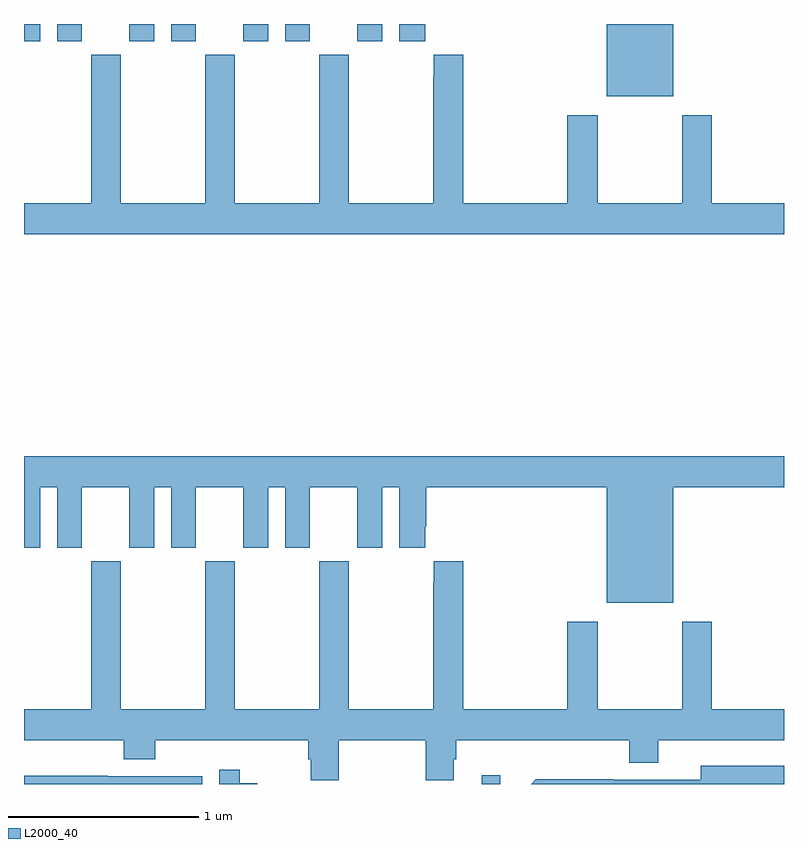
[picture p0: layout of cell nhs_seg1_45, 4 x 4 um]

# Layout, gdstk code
import gdstk
lib = gdstk.Library(unit=1e-6, precision=1e-09)
def R(c, l, rs):  # rectangles x0, y0, x1, y1
    for r in rs: c.add(gdstk.rectangle(r[:2], r[2:], *l))
def P(c, l, *ps):  # polygons
    for p in ps: c.add(gdstk.Polygon(p, *l))
L2000_40 = (2000, 40)

nhs_seg1_45 = lib.new_cell('nhs_seg1_45')
R(nhs_seg1_45, L2000_40, [(115.409,522.199,115.506,522.246), (116.066,525.818,116.416,526.199), (113,526.107,113.086,526.199), (113.174,526.107,113.305,526.199), (113.555,526.107,113.686,526.199), (113.774,526.107,113.905,526.199), (114.155,526.107,114.286,526.199), (114.374,526.107,114.505,526.199), (114.755,526.107,114.886,526.199), (114.974,526.107,115.111,526.199)])
P(nhs_seg1_45, L2000_40, [(117,525.256),(116.619,525.256),(116.619,525.718),(116.464,525.718),(116.464,525.256),(116.019,525.256),(116.019,525.718),(115.859,525.718),(115.859,525.256),(115.313,525.256),(115.313,526.036),(115.157,526.036),(115.157,525.923),(115.153,525.923),(115.153,525.256),(114.708,525.256),(114.708,526.036),(114.553,526.036),(114.553,525.256),(114.108,525.256),(114.108,526.036),(113.953,526.036),(113.953,525.256),(113.508,525.256),(113.508,526.036),(113.353,526.036),(113.353,525.256),(113,525.256),(113,525.092),(117,525.092)],
  [(116.416,523.76),(117,523.76),(117,523.924),(113,523.924),(113,523.443),(113.086,523.443),(113.086,523.76),(113.174,523.76),(113.174,523.443),(113.305,523.443),(113.305,523.76),(113.555,523.76),(113.555,523.443),(113.686,523.443),(113.686,523.76),(113.774,523.76),(113.774,523.443),(113.905,523.443),(113.905,523.76),(114.155,523.76),(114.155,523.443),(114.286,523.443),(114.286,523.76),(114.374,523.76),(114.374,523.443),(114.505,523.443),(114.505,523.76),(114.755,523.76),(114.755,523.443),(114.886,523.443),(114.886,523.76),(114.974,523.76),(114.974,523.443),(115.111,523.443),(115.111,523.555),(115.118,523.555),(115.118,523.76),(116.066,523.76),(116.066,523.154),(116.416,523.154)],
  [(114.657,522.428),(115.114,522.428),(115.114,522.22),(115.261,522.22),(115.261,522.33),(115.274,522.33),(115.274,522.428),(116.186,522.428),(116.186,522.311),(116.338,522.311),(116.338,522.428),(117,522.428),(117,522.592),(116.619,522.592),(116.619,523.054),(116.464,523.054),(116.464,522.592),(116.019,522.592),(116.019,523.054),(115.859,523.054),(115.859,522.592),(115.313,522.592),(115.313,523.371),(115.157,523.371),(115.157,523.259),(115.153,523.259),(115.153,522.592),(114.708,522.592),(114.708,523.371),(114.553,523.371),(114.553,522.592),(114.108,522.592),(114.108,523.371),(113.953,523.371),(113.953,522.592),(113.508,522.592),(113.508,523.371),(113.353,523.371),(113.353,522.592),(113,522.592),(113,522.428),(113.525,522.428),(113.525,522.329),(113.69,522.329),(113.69,522.428),(114.497,522.428),(114.497,522.33),(114.509,522.33),(114.509,522.22),(114.657,522.22)],
  [(117,522.294),(116.93,522.294),(116.93,522.295),(116.562,522.295),(116.562,522.222),(116.102,522.222),(116.102,522.224),(115.694,522.224),(115.669,522.199),(117,522.199)],
  [(114.228,522.204),(114.136,522.204),(114.136,522.274),(114.027,522.274),(114.027,522.199),(114.228,522.199)],
  [(113.937,522.24),(113.441,522.24),(113.441,522.242),(113,522.242),(113,522.199),(113.937,522.199)])

lib.write_gds('nhs_seg1_45.gds')
